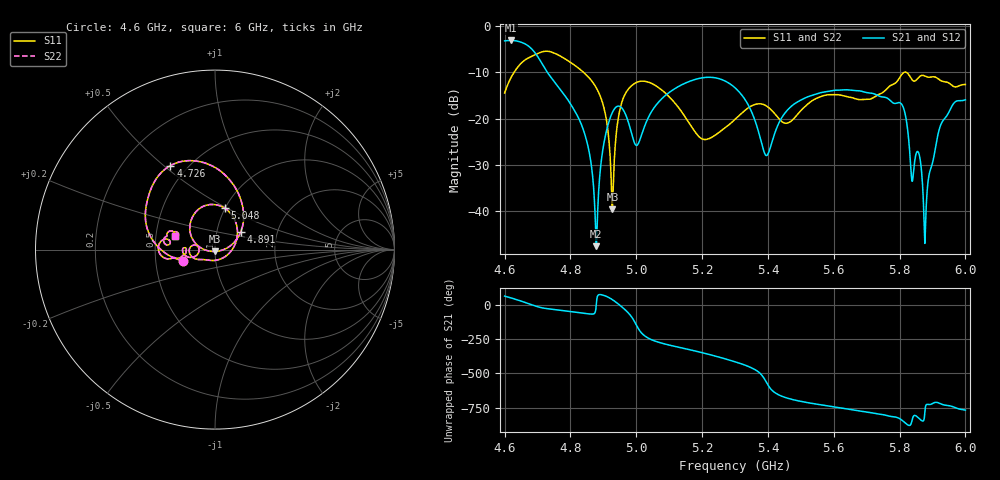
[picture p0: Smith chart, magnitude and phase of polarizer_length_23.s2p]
! TOUCHSTONE file generated by CST MICROWAVE STUDIO
! Date and time: Sun Dec  1 17:17:04 2024
! Project name: test_tuning.cst
! Parameters = {airCoaxOuterDiameter=3; chamferAngle=45; chamferWidth=24; connectorLength=10; drillingHoleDiameter=4.1; feedLength=60; flareDiameter=130; flareLength=70; gratingDistance=0; gratingGap=1.90274; outletLength=30; polarizerLength=108; probe1Diameter=1.3; probe1Distance=14; probe1Length=1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
! Header version: 2024
! Port assignment regex: !\s*Touchstone port\s*([0-9]+)\s*=\s*(CST MWS port|CST DES external port|CST DES block port)\s*(.+)\s* \(\"(.*)\"\)(\s*mode\s*([0-9]+))?.*
! Touchstone port assignment:
! Touchstone port 1 = CST MWS port 1 ("Input1")
! Touchstone port 2 = CST MWS port 2 ("Input2")
# GHz S MA R 50
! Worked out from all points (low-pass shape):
!   1001 points, 4.6 GHz to 6 GHz, reference 50 ohm
!   highest |S21| = -3.20 dB at 4.62 GHz (marker M1); lowest = -47.5 dB at 4.879 GHz (marker M2)
!   |S21| within 3 dB of the highest: start of sweep to 4.696 GHz
!   lowest |S11| = -39.6 dB at 4.928 GHz (marker M3), VSWR 1.02, Z = 49.9 - j1.04 ohm
!   |S11| at or under -10 dB: start of sweep to 4.629 GHz; 4.839 GHz to end of sweep
!   |S22| runs from -39.6 to -5.5 dB; largest |S21 - S12| = 2e-06
!   S11 on the Smith chart (normalised r, x): 4.6 GHz: 0.69, -0.09; 4.726 GHz: 0.40, +0.53; 4.891 GHz: 1.30, +0.26; 5.048 GHz: 0.99, +0.49; 6 GHz: 0.63, +0.10
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4.6  0.1883 -161.0  0.6846 63.8  0.6846 63.8  0.1883 -161.0
4.6196  0.2763 -175.8  0.6917 50.5  0.6917 50.5  0.2763 -175.8
4.726  0.5298 117.9  0.3299 -26.7  0.3299 -26.7  0.5298 117.9
4.8338  0.3274 65.3  0.08535 -58.9  0.08535 -58.9  0.3274 65.3
4.8786  0.2139 42.9  0.00423 2.8  0.00423 2.8  0.2139 42.9
4.8912  0.172 34.1  0.02907 74.9  0.02907 74.9  0.172 34.1
4.9276  0.01052 -97.0  0.1165 37.7  0.1165 37.7  0.01052 -97.0
4.9626  0.1724 143.9  0.1202 -28.4  0.1202 -28.4  0.1724 143.9
5.0004  0.2442 111.1  0.05134 -147.7  0.05133 -147.7  0.2442 111.1
5.048  0.2374 76.9  0.1212 103.9  0.1212 103.9  0.2374 76.9
5.0676  0.2152 64.3  0.1498 87.3  0.1498 87.3  0.2152 64.3
5.2006  0.06019 -62.9  0.2742 10.9  0.2742 10.9  0.06019 -62.9
5.3  0.098 -145.1  0.2142 -55.4  0.2142 -55.4  0.098 -145.1
5.3952  0.1366 173.2  0.03996 155.0  0.03996 155.0  0.1366 173.2
5.5338  0.155 -164.3  0.1774 1.0  0.1774 1.0  0.155 -164.3
5.7676  0.2198 -167.4  0.161 -91.4  0.161 -91.4  0.2198 -167.4
5.8124  0.3118 -177.3  0.1284 -131.8  0.1284 -131.8  0.3118 -177.3
5.839  0.2592 168.5  0.02113 -112.7  0.02113 -112.7  0.2592 168.5
5.8586  0.2775 173.9  0.04206 -107.4  0.04206 -107.4  0.2775 173.9
5.8782  0.2855 165.7  0.005924 -30.3  0.005924 -30.3  0.2855 165.7
5.9244  0.2569 156.6  0.08418 -1.4  0.08418 -1.4  0.2569 156.6
6  0.2323 161.4  0.1589 -47.9  0.1589 -47.9  0.2323 161.4
